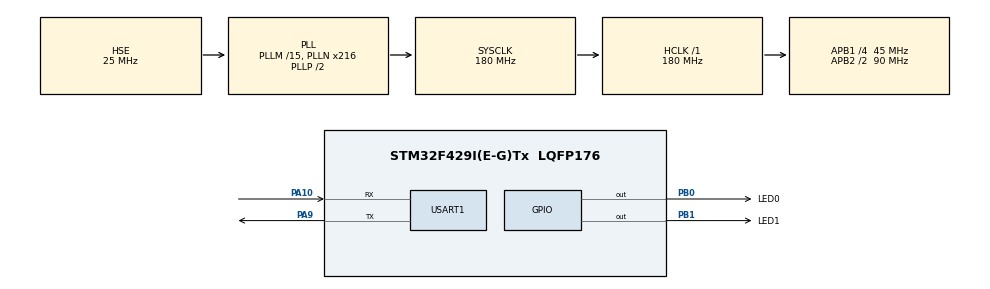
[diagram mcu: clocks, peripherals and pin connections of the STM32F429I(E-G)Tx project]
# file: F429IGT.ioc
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FREERTOS.Tasks01=StartTask,24,256,StartDefaultTask,Default,NULL,Dynamic,NULL,NULL
Mcu.Family=STM32F4
Mcu.Name=STM32F429I(E-G)Tx
Mcu.Package=LQFP176
NVIC.PriorityGroup=NVIC_PRIORITYGROUP_4
NVIC.TIM1_BRK_TIM9_IRQn=true\:0\:0\:false\:false\:true\:false\:false\:true
NVIC.TimeBase=TIM1_BRK_TIM9_IRQn
NVIC.TimeBaseIP=TIM9
NVIC.USART1_IRQn=true\:5\:0\:false\:false\:true\:true\:true\:true
PA10.Mode=Asynchronous
PA10.Signal=USART1_RX
PA13.Mode=Serial_Wire
PA13.Signal=SYS_JTMS-SWDIO
PA14.Mode=Serial_Wire
PA14.Signal=SYS_JTCK-SWCLK
PA9.Mode=Asynchronous
PA9.Signal=USART1_TX
PB0.GPIO_Label=LED0
PB0.GPIO_PuPd=GPIO_PULLUP
PB0.GPIO_Speed=GPIO_SPEED_FREQ_HIGH
PB0.PinState=GPIO_PIN_SET
PB0.Signal=GPIO_Output
PB1.GPIO_Label=LED1
PB1.GPIO_PuPd=GPIO_PULLUP
PB1.GPIO_Speed=GPIO_SPEED_FREQ_HIGH
PB1.PinState=GPIO_PIN_SET
PB1.Signal=GPIO_Output
PC14/OSC32_IN.Mode=LSE-External-Oscillator
PC14/OSC32_IN.Signal=RCC_OSC32_IN
PC15/OSC32_OUT.Mode=LSE-External-Oscillator
PC15/OSC32_OUT.Signal=RCC_OSC32_OUT
PH0/OSC_IN.Mode=HSE-External-Oscillator
PH0/OSC_IN.Signal=RCC_OSC_IN
PH1/OSC_OUT.Mode=HSE-External-Oscillator
PH1/OSC_OUT.Signal=RCC_OSC_OUT
ProjectManager.HeapSize=0x400
ProjectManager.StackSize=0x1000
ProjectManager.TargetToolchain=MDK-ARM V5.27
RCC.48MHZClocksFreq_Value=45000000
RCC.AHBFreq_Value=180000000
RCC.APB1CLKDivider=RCC_HCLK_DIV4
RCC.APB1Freq_Value=45000000
RCC.APB1TimFreq_Value=90000000
RCC.APB2CLKDivider=RCC_HCLK_DIV2
RCC.APB2Freq_Value=90000000
RCC.APB2TimFreq_Value=180000000
RCC.CortexFreq_Value=180000000
RCC.HCLKFreq_Value=180000000
RCC.HSE_VALUE=25000000
RCC.HSI_VALUE=16000000
RCC.PLLM=15
RCC.PLLN=216
RCC.PLLQ=8
RCC.PLLSourceVirtual=RCC_PLLSOURCE_HSE
RCC.SYSCLKFreq_VALUE=180000000
RCC.SYSCLKSource=RCC_SYSCLKSOURCE_PLLCLK
RCC.VCOOutputFreq_Value=360000000
USART1.VirtualMode=VM_ASYNC
VP_FREERTOS_VS_CMSIS_V2.Mode=CMSIS_V2
VP_SYS_VS_tim9.Mode=TIM9
board=custom

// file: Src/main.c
/* USER CODE BEGIN Header */
/**
  ******************************************************************************
  * @file           : main.c
  * @brief          : Main program body
  ******************************************************************************
  * @attention
  *
  * <h2><center>&copy; Copyright (c) 2021 STMicroelectronics.
  * All rights reserved.</center></h2>
  *
  * This software component is licensed by ST under Ultimate Liberty license
  * SLA0044, the "License"; You may not use this file except in compliance with
  * the License. You may obtain a copy of the License at:
  *                             www.st.com/SLA0044
  *
  ******************************************************************************
  */
/* USER CODE END Header */
#include "main.h"
#include "cmsis_os.h"
#include "usart.h"
#include "gpio.h"

void SystemClock_Config(void);
void MX_FREERTOS_Init(void);

int main(void)
{

  /* MCU Configuration--------------------------------------------------------*/

  /* Reset of all peripherals, Initializes the Flash interface and the Systick. */
  HAL_Init();

  /* Configure the system clock */
  SystemClock_Config();

  /* Initialize all configured peripherals */
  MX_GPIO_Init();
  MX_USART1_UART_Init();

  /* Init scheduler */
  osKernelInitialize();  /* Call init function for freertos objects (in freertos.c) */
  MX_FREERTOS_Init();
  /* Start scheduler */
  osKernelStart();

  /* We should never get here as control is now taken by the scheduler */
  /* Infinite loop */
  while (1)
  {

  }
}

void SystemClock_Config(void)
{
  RCC_OscInitTypeDef RCC_OscInitStruct = {0};
  RCC_ClkInitTypeDef RCC_ClkInitStruct = {0};

  /** Configure the main internal regulator output voltage
  */
  __HAL_RCC_PWR_CLK_ENABLE();
  __HAL_PWR_VOLTAGESCALING_CONFIG(PWR_REGULATOR_VOLTAGE_SCALE1);
  /** Initializes the RCC Oscillators according to the specified parameters
  * in the RCC_OscInitTypeDef structure.
  */
  RCC_OscInitStruct.OscillatorType = RCC_OSCILLATORTYPE_HSE;
  RCC_OscInitStruct.HSEState = RCC_HSE_ON;
  RCC_OscInitStruct.PLL.PLLState = RCC_PLL_ON;
  RCC_OscInitStruct.PLL.PLLSource = RCC_PLLSOURCE_HSE;
  RCC_OscInitStruct.PLL.PLLM = 15;
  RCC_OscInitStruct.PLL.PLLN = 216;
  RCC_OscInitStruct.PLL.PLLP = RCC_PLLP_DIV2;
  RCC_OscInitStruct.PLL.PLLQ = 8;
  if (HAL_RCC_OscConfig(&RCC_OscInitStruct) != HAL_OK)
  {
    Error_Handler();
  }
  /** Activate the Over-Drive mode
  */
  if (HAL_PWREx_EnableOverDrive() != HAL_OK)
  {
    Error_Handler();
  }
  /** Initializes the CPU, AHB and APB buses clocks
  */
  RCC_ClkInitStruct.ClockType = RCC_CLOCKTYPE_HCLK|RCC_CLOCKTYPE_SYSCLK
                              |RCC_CLOCKTYPE_PCLK1|RCC_CLOCKTYPE_PCLK2;
  RCC_ClkInitStruct.SYSCLKSource = RCC_SYSCLKSOURCE_PLLCLK;
  RCC_ClkInitStruct.AHBCLKDivider = RCC_SYSCLK_DIV1;
  RCC_ClkInitStruct.APB1CLKDivider = RCC_HCLK_DIV4;
  RCC_ClkInitStruct.APB2CLKDivider = RCC_HCLK_DIV2;

  if (HAL_RCC_ClockConfig(&RCC_ClkInitStruct, FLASH_LATENCY_5) != HAL_OK)
  {
    Error_Handler();
  }
}

 /**
  * @brief  Period elapsed callback in non blocking mode
  * @note   This function is called  when TIM9 interrupt took place, inside
  * HAL_TIM_IRQHandler(). It makes a direct call to HAL_IncTick() to increment
  * a global variable "uwTick" used as application time base.
  * @param  htim : TIM handle
  * @retval None
  */
void HAL_TIM_PeriodElapsedCallback(TIM_HandleTypeDef *htim)
{
  if (htim->Instance == TIM9) {
    HAL_IncTick();
  }
}

void Error_Handler(void)
{
  __disable_irq();
  while (1)
  {
  }
}

/************************ (C) COPYRIGHT STMicroelectronics *****END OF FILE****/

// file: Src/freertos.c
/* USER CODE BEGIN Header */
/**
  ******************************************************************************
  * File Name          : freertos.c
  * Description        : Code for freertos applications
  ******************************************************************************
  * @attention
  *
  * <h2><center>&copy; Copyright (c) 2021 STMicroelectronics.
  * All rights reserved.</center></h2>
  *
  * This software component is licensed by ST under Ultimate Liberty license
  * SLA0044, the "License"; You may not use this file except in compliance with
  * the License. You may obtain a copy of the License at:
  *                             www.st.com/SLA0044
  *
  ******************************************************************************
  */
/* USER CODE END Header */

#include "FreeRTOS.h"
#include "task.h"
#include "main.h"
#include "cmsis_os.h"

/* USER CODE BEGIN Includes */
#include "usart.h"
#include "cmd.h"
#include "com.h"
/* USER CODE END Includes */

/* Definitions for StartTask */
osThreadId_t StartTaskHandle;
const osThreadAttr_t StartTask_attributes = {
    .name = "StartTask",
    .stack_size = 256 * 4,
    .priority = (osPriority_t) osPriorityNormal,
};

/* USER CODE BEGIN FunctionPrototypes */
osThreadId_t CmdTaskHandle;
const osThreadAttr_t CmdTask_attributes = {
    .name = "CmdTask",
    .stack_size = 256 * 4,
    .priority = (osPriority_t) osPriorityNormal,
};

void CmdDefaultTask(void *argument);
/* USER CODE END FunctionPrototypes */

void StartDefaultTask(void *argument);

void MX_FREERTOS_Init(void); /* (MISRA C 2004 rule 8.1) */

void MX_FREERTOS_Init(void) {
    /* USER CODE BEGIN Init */
    //COM初始化
    COM_init(&huart1, &hcom1);
    /* USER CODE END Init */

    /* Create the thread(s) */
    /* creation of StartTask */
    StartTaskHandle = osThreadNew(StartDefaultTask, NULL, &StartTask_attributes);

    /* USER CODE BEGIN RTOS_THREADS */
    //CmdTaskHandle = osThreadNew(CmdDefaultTask, NULL, &CmdTask_attributes);
    /* USER CODE END RTOS_THREADS */

}

void StartDefaultTask(void *argument)
{
    /* USER CODE BEGIN StartDefaultTask */
    /* Infinite loop */
    for(;;)
    {
        HAL_GPIO_TogglePin(LED0_GPIO_Port,LED0_Pin);
        osDelay(1000);
        HAL_GPIO_TogglePin(LED1_GPIO_Port,LED1_Pin);
    }
    /* USER CODE END StartDefaultTask */
}

/* USER CODE BEGIN Application */
void CmdDefaultTask(void *argument) {
//    char *pp1 = NULL;
//    pp1 = COM_Check(&hcom1);
COM_Check(&hcom1);
//    if (pp1 != NULL) {
//        printf("cmd = %s \r\n",pp1);
//        CMD_CheckCmd(pp1);
//    }
}
/* USER CODE END Application */

/************************ (C) COPYRIGHT STMicroelectronics *****END OF FILE****/
